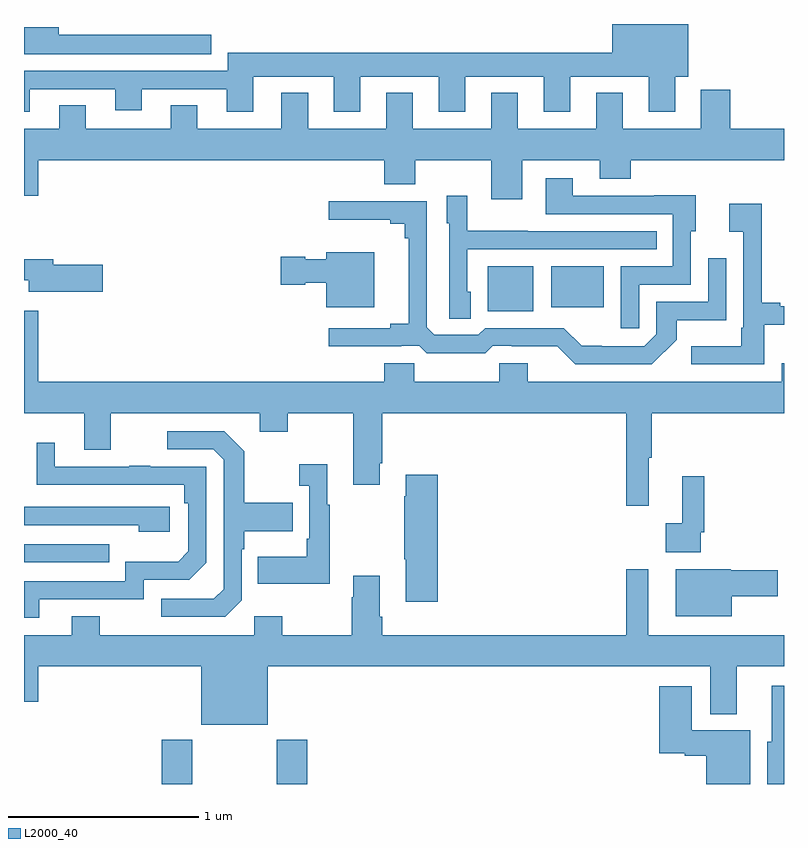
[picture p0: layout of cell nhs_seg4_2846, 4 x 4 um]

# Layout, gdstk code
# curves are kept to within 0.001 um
import gdstk
lib = gdstk.Library(unit=1e-6, precision=1e-09)
def R(c, l, rs):  # rectangles x0, y0, x1, y1
    for r in rs: c.add(gdstk.rectangle(r[:2], r[2:], *l))
def P(c, l, *ps):  # polygons
    for p in ps: c.add(gdstk.Polygon(p, *l))
L2000_40 = (2000, 40)

nhs_seg4_2846 = lib.new_cell('nhs_seg4_2846')
R(nhs_seg4_2846, L2000_40, [(261.725,762.9,261.885,763.132), (262.33,762.9,262.49,763.132), (261,764.067,261.449,764.163), (263.441,765.389,263.68,765.625), (263.774,765.41,264.052,765.625)])
P(nhs_seg4_2846, L2000_40, [(261.031,766.557),(261.479,766.557),(261.479,766.445),(261.619,766.445),(261.619,766.557),(262.067,766.557),(262.067,766.437),(262.207,766.437),(262.207,766.622),(262.631,766.622),(262.631,766.437),(262.771,766.437),(262.771,766.622),(263.183,766.622),(263.183,766.437),(263.323,766.437),(263.323,766.622),(263.735,766.622),(263.735,766.437),(263.875,766.437),(263.875,766.622),(264.287,766.622),(264.287,766.437),(264.427,766.437),(264.427,766.622),(264.496,766.622),(264.496,766.9),(264.095,766.9),(264.095,766.75),(262.073,766.75),(262.073,766.653),(261,766.653),(261,766.437),(261.031,766.437)],
  [(261.985,766.843),(261.184,766.843),(261.184,766.882),(261,766.882),(261,766.742),(261.985,766.742)],
  [(263.623,766.184),(264.029,766.184),(264.029,766.085),(264.193,766.085),(264.193,766.184),(265,766.184),(265,766.348),(264.716,766.348),(264.716,766.555),(264.563,766.555),(264.563,766.348),(264.151,766.348),(264.151,766.537),(264.011,766.537),(264.011,766.348),(263.599,766.348),(263.599,766.537),(263.459,766.537),(263.459,766.348),(263.047,766.348),(263.047,766.537),(262.907,766.537),(262.907,766.348),(262.495,766.348),(262.495,766.537),(262.355,766.537),(262.355,766.348),(261.913,766.348),(261.913,766.472),(261.773,766.472),(261.773,766.348),(261.325,766.348),(261.325,766.472),(261.185,766.472),(261.185,766.348),(261,766.348),(261,765.996),(261.076,765.996),(261.076,766.184),(262.895,766.184),(262.895,766.056),(263.059,766.056),(263.059,766.184),(263.459,766.184),(263.459,765.978),(263.623,765.978)],
  [(264.237,765.528),(264.51,765.528),(264.51,765.81),(264.535,765.81),(264.535,765.998),(264.317,765.998),(264.317,765.996),(263.887,765.996),(263.887,766.087),(263.747,766.087),(263.747,765.9),(264.414,765.9),(264.414,765.624),(264.141,765.624),(264.141,765.3),(264.237,765.3)],
  [(263.35,765.492),(263.334,765.492),(263.334,765.714),(264.329,765.714),(264.329,765.81),(263.651,765.81),(263.651,765.811),(263.334,765.811),(263.334,765.997),(263.225,765.997),(263.225,765.852),(263.238,765.852),(263.238,765.349),(263.35,765.349)],
  [(264.435,765.239),(264.435,765.341),(264.696,765.341),(264.696,765.667),(264.6,765.667),(264.6,765.438),(264.327,765.438),(264.327,765.267),(264.264,765.204),(264.04,765.204),(264.04,765.206),(263.936,765.206),(263.841,765.3),(263.427,765.3),(263.391,765.264),(263.16,765.264),(263.121,765.303),(263.121,765.966),(262.605,765.966),(262.605,765.869),(262.928,765.869),(262.928,765.85),(263.005,765.85),(263.005,765.773),(263.024,765.773),(263.024,765.323),(262.928,765.323),(262.928,765.3),(262.605,765.3),(262.605,765.203),(262.985,765.203),(262.985,765.207),(263.079,765.207),(263.119,765.168),(263.427,765.168),(263.466,765.207),(263.566,765.207),(263.566,765.203),(263.807,765.203),(263.901,765.108),(264.304,765.108)],
  [(264.895,765.317),(265,765.317),(265,765.414),(264.979,765.414),(264.979,765.433),(264.883,765.433),(264.883,765.955),(264.711,765.955),(264.711,765.806),(264.786,765.806),(264.786,765.301),(264.774,765.301),(264.774,765.205),(264.513,765.205),(264.513,765.108),(264.895,765.108)],
  [(262.843,765.7),(262.592,765.7),(262.592,765.661),(262.479,765.661),(262.479,765.674),(262.35,765.674),(262.35,765.527),(262.479,765.527),(262.479,765.539),(262.592,765.539),(262.592,765.41),(262.843,765.41)],
  [(261.415,765.632),(261.154,765.632),(261.154,765.661),(261,765.661),(261,765.551),(261.026,765.551),(261.026,765.49),(261.415,765.49)],
  [(264.287,764.616),(264.305,764.616),(264.305,764.852),(265,764.852),(265,765.115),(264.989,765.115),(264.989,765.016),(263.65,765.016),(263.65,765.114),(263.5,765.114),(263.5,765.016),(263.055,765.016),(263.055,765.114),(262.895,765.114),(262.895,765.016),(261.076,765.016),(261.076,765.391),(261,765.391),(261,764.852),(261.317,764.852),(261.317,764.658),(261.457,764.658),(261.457,764.852),(262.241,764.852),(262.241,764.753),(262.389,764.753),(262.389,764.852),(262.733,764.852),(262.733,764.475),(262.873,764.475),(262.873,764.587),(262.886,764.587),(262.886,764.852),(264.169,764.852),(264.169,764.364),(264.287,764.364)],
  [(262.146,763.866),(262.146,764.135),(262.159,764.135),(262.159,764.231),(262.415,764.231),(262.415,764.379),(262.159,764.379),(262.159,764.651),(262.053,764.757),(261.753,764.757),(261.753,764.661),(261.996,764.661),(262.05,764.607),(262.05,763.926),(261.999,763.875),(261.723,763.875),(261.723,763.779),(262.059,763.779)],
  [(261.079,763.872),(261.63,763.872),(261.63,763.974),(261.87,763.974),(261.96,764.064),(261.96,764.571),(261.665,764.571),(261.665,764.576),(261.553,764.576),(261.553,764.571),(261.163,764.571),(261.163,764.695),(261.067,764.695),(261.067,764.476),(261.844,764.475),(261.844,764.378),(261.864,764.378),(261.864,764.124),(261.811,764.071),(261.534,764.071),(261.534,763.968),(261,763.968),(261,763.776),(261.079,763.776)],
  [(262.609,764.371),(262.597,764.371),(262.597,764.584),(262.449,764.584),(262.449,764.471),(262.5,764.471),(262.5,764.191),(262.488,764.191),(262.488,764.095),(262.231,764.095),(262.231,763.955),(262.609,763.955)],
  [(263.177,764.527),(263.009,764.527),(263.009,764.414),(263.002,764.414),(263.002,764.083),(263.009,764.083),(263.009,763.86),(263.177,763.86)],
  [(264.561,764.224),(264.581,764.224),(264.581,764.521),(264.464,764.521),(264.464,764.273),(264.378,764.273),(264.378,764.12),(264.561,764.12)],
  [(261.766,764.358),(261,764.358),(261,764.262),(261.605,764.262),(261.605,764.228),(261.766,764.228)],
  [(264.724,763.889),(264.967,763.889),(264.967,764.024),(264.72,764.024),(264.72,764.029),(264.431,764.029),(264.431,763.784),(264.724,763.784)],
  [(262.282,763.52),(264.611,763.52),(264.611,763.268),(264.751,763.268),(264.751,763.52),(265,763.52),(265,763.684),(264.286,763.684),(264.286,764.029),(264.169,764.029),(264.169,763.684),(262.886,763.684),(262.886,763.78),(262.873,763.78),(262.873,763.996),(262.733,763.996),(262.733,763.883),(262.726,763.883),(262.726,763.684),(262.359,763.684),(262.359,763.783),(262.212,763.783),(262.212,763.684),(261.399,763.684),(261.399,763.783),(261.251,763.783),(261.251,763.684),(261,763.684),(261,763.332),(261.076,763.332),(261.076,763.52),(261.932,763.52),(261.932,763.211),(262.282,763.211)],
  [(265,763.417),(264.935,763.417),(264.935,763.122),(264.911,763.122),(264.911,762.9),(265,762.9)],
  [(264.823,763.183),(264.514,763.183),(264.514,763.414),(264.344,763.414),(264.344,763.061),(264.477,763.061),(264.477,763.049),(264.59,763.049),(264.59,762.9),(264.823,762.9)])

lib.write_gds('nhs_seg4_2846.gds')
